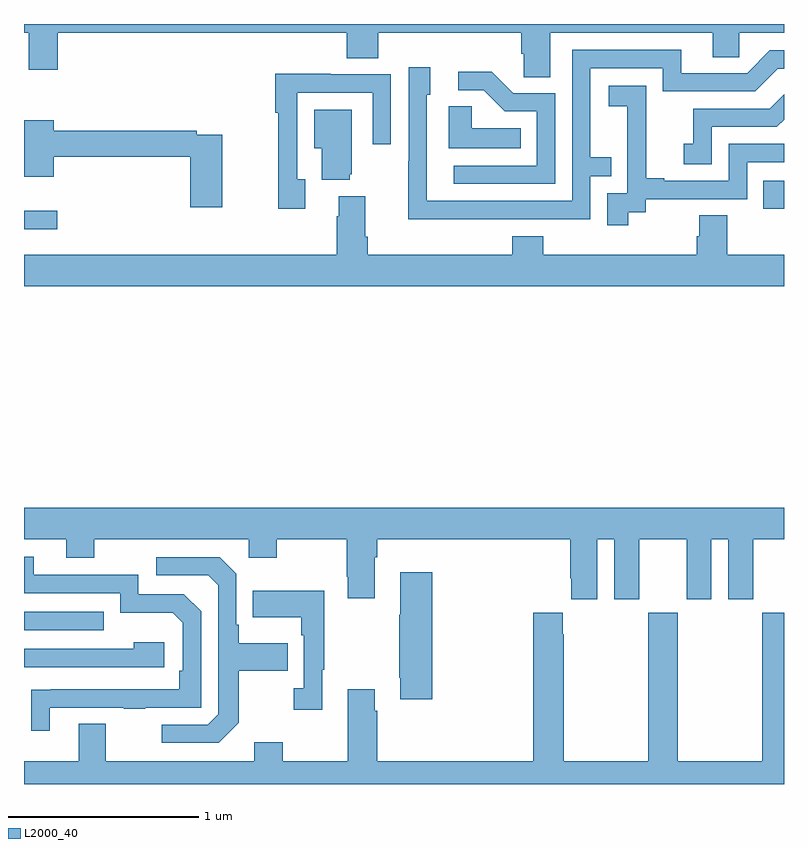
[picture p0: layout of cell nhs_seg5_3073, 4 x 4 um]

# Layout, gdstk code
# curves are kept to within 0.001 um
import gdstk
lib = gdstk.Library(unit=1e-6, precision=1e-09)
def R(c, l, rs):  # rectangles x0, y0, x1, y1
    for r in rs: c.add(gdstk.rectangle(r[:2], r[2:], *l))
def P(c, l, *ps):  # polygons
    for p in ps: c.add(gdstk.Polygon(p, *l))
L2000_40 = (2000, 40)

nhs_seg5_3073 = lib.new_cell('nhs_seg5_3073')
R(nhs_seg5_3073, L2000_40, [(289,861.609,289.421,861.705), (289,863.72,289.174,863.817), (292.891,863.826,293,863.973)])
P(nhs_seg5_3073, L2000_40, [(291.769,864.752),(292.625,864.752),(292.625,864.625),(292.764,864.625),(292.764,864.752),(293,864.752),(293,864.799),(289,864.799),(289,864.752),(289.025,864.752),(289.025,864.558),(289.178,864.558),(289.178,864.752),(290.699,864.752),(290.699,864.619),(290.864,864.619),(290.864,864.752),(291.617,864.752),(291.617,864.643),(291.63,864.643),(291.63,864.52),(291.769,864.52)],
  [(291.485,863.772),(291.981,863.772),(291.981,863.997),(292.091,863.997),(292.091,864.098),(291.981,864.098),(291.981,864.567),(292.362,864.567),(292.362,864.444),(292.848,864.444),(292.968,864.564),(293,864.564),(293,864.66),(292.926,864.66),(292.806,864.54),(292.459,864.54),(292.459,864.663),(291.885,864.663),(291.885,863.868),(291.12,863.868),(291.12,864.426),(291.139,864.426),(291.139,864.571),(291.024,864.571),(291.024,864.077),(291.022,864.077),(291.022,863.771)],
  [(291.795,864.435),(291.576,864.435),(291.463,864.548),(291.285,864.548),(291.285,864.45),(291.419,864.45),(291.53,864.339),(291.699,864.339),(291.699,864.054),(291.261,864.054),(291.261,863.958),(291.795,863.958)],
  [(290.479,863.982),(290.439,863.982),(290.439,864.438),(290.835,864.438),(290.835,864.165),(290.931,864.165),(290.931,864.534),(290.615,864.534),(290.615,864.536),(290.323,864.536),(290.323,864.331),(290.338,864.331),(290.338,863.826),(290.479,863.826)],
  [(292.18,863.809),(292.272,863.809),(292.272,863.877),(292.806,863.877),(292.806,864.072),(293,864.072),(293,864.168),(292.71,864.168),(292.71,863.973),(292.369,863.973),(292.369,863.986),(292.274,863.986),(292.274,864.269),(292.275,864.269),(292.275,864.475),(292.077,864.475),(292.077,864.365),(292.175,864.365),(292.175,864.137),(292.176,864.137),(292.176,863.907),(292.071,863.907),(292.071,863.739),(292.18,863.739)],
  [(292.62,864.258),(292.962,864.258),(293,864.296),(293,864.429),(292.925,864.354),(292.522,864.354),(292.522,864.169),(292.473,864.169),(292.473,864.06),(292.62,864.06)],
  [(291.614,864.25),(291.357,864.25),(291.357,864.365),(291.236,864.365),(291.236,864.146),(291.614,864.146)],
  [(290.714,864.009),(290.725,864.009),(290.725,864.349),(290.528,864.349),(290.528,864.146),(290.567,864.146),(290.567,863.978),(290.714,863.978)],
  [(290.044,864.216),(289.91,864.216),(289.91,864.236),(289.156,864.236),(289.156,864.292),(289,864.292),(289,863.996),(289.156,863.996),(289.156,864.1),(289.874,864.1),(289.874,863.835),(290.044,863.835)],
  [(293,863.584),(292.701,863.584),(292.701,863.792),(292.553,863.792),(292.553,863.682),(292.541,863.682),(292.541,863.584),(291.734,863.584),(291.734,863.683),(291.569,863.683),(291.569,863.584),(290.81,863.584),(290.81,863.68),(290.797,863.68),(290.797,863.893),(290.657,863.893),(290.657,863.786),(290.645,863.786),(290.645,863.584),(289,863.584),(289,863.42),(293,863.42)],
  [(292.018,862.088),(292.106,862.088),(292.106,861.771),(292.237,861.771),(292.237,862.088),(292.487,862.088),(292.487,861.771),(292.618,861.771),(292.618,862.088),(292.706,862.088),(292.706,861.771),(292.837,861.771),(292.837,862.088),(293,862.088),(293,862.252),(289,862.252),(289,862.088),(289.223,862.088),(289.223,861.989),(289.371,861.989),(289.371,862.088),(290.184,862.088),(290.184,861.989),(290.331,861.989),(290.331,862.088),(290.698,862.088),(290.698,861.889),(290.705,861.889),(290.705,861.777),(290.845,861.777),(290.845,861.992),(290.858,861.992),(290.858,862.088),(291.875,862.088),(291.875,861.883),(291.881,861.883),(291.881,861.771),(292.018,861.771)],
  [(289.135,861.201),(289.525,861.201),(289.525,861.196),(289.637,861.196),(289.637,861.201),(289.932,861.201),(289.932,861.708),(289.842,861.798),(289.602,861.798),(289.602,861.9),(289.051,861.9),(289.051,861.996),(289,861.996),(289,861.804),(289.506,861.804),(289.506,861.701),(289.783,861.701),(289.836,861.648),(289.836,861.394),(289.816,861.394),(289.816,861.297),(289.039,861.296),(289.039,861.078),(289.135,861.078)],
  [(290.131,861.121),(290.131,861.394),(290.387,861.394),(290.387,861.541),(290.131,861.541),(290.131,861.637),(290.118,861.637),(290.118,861.906),(290.031,861.993),(289.695,861.993),(289.695,861.897),(289.971,861.897),(290.022,861.846),(290.022,861.165),(289.968,861.111),(289.725,861.111),(289.725,861.015),(290.025,861.015)],
  [(291.149,861.913),(290.981,861.913),(290.981,861.689),(290.974,861.689),(290.974,861.358),(290.981,861.358),(290.981,861.246),(291.149,861.246)],
  [(290.569,861.401),(290.581,861.401),(290.581,861.817),(290.203,861.817),(290.203,861.677),(290.46,861.677),(290.46,861.581),(290.472,861.581),(290.472,861.302),(290.421,861.302),(290.421,861.189),(290.569,861.189)],
  [(293,861.7),(292.885,861.7),(292.885,860.92),(292.44,860.92),(292.44,861.7),(292.285,861.7),(292.285,860.92),(291.84,860.92),(291.84,861.587),(291.835,861.587),(291.835,861.7),(291.68,861.7),(291.68,860.92),(290.858,860.92),(290.858,861.185),(290.845,861.185),(290.845,861.298),(290.705,861.298),(290.705,860.92),(290.361,860.92),(290.361,861.019),(290.213,861.019),(290.213,860.92),(289.429,860.92),(289.429,861.115),(289.289,861.115),(289.289,860.92),(289,860.92),(289,860.799),(293,860.799)],
  [(289.738,861.544),(289.577,861.544),(289.577,861.51),(289,861.51),(289,861.414),(289.738,861.414)])

lib.write_gds('nhs_seg5_3073.gds')
